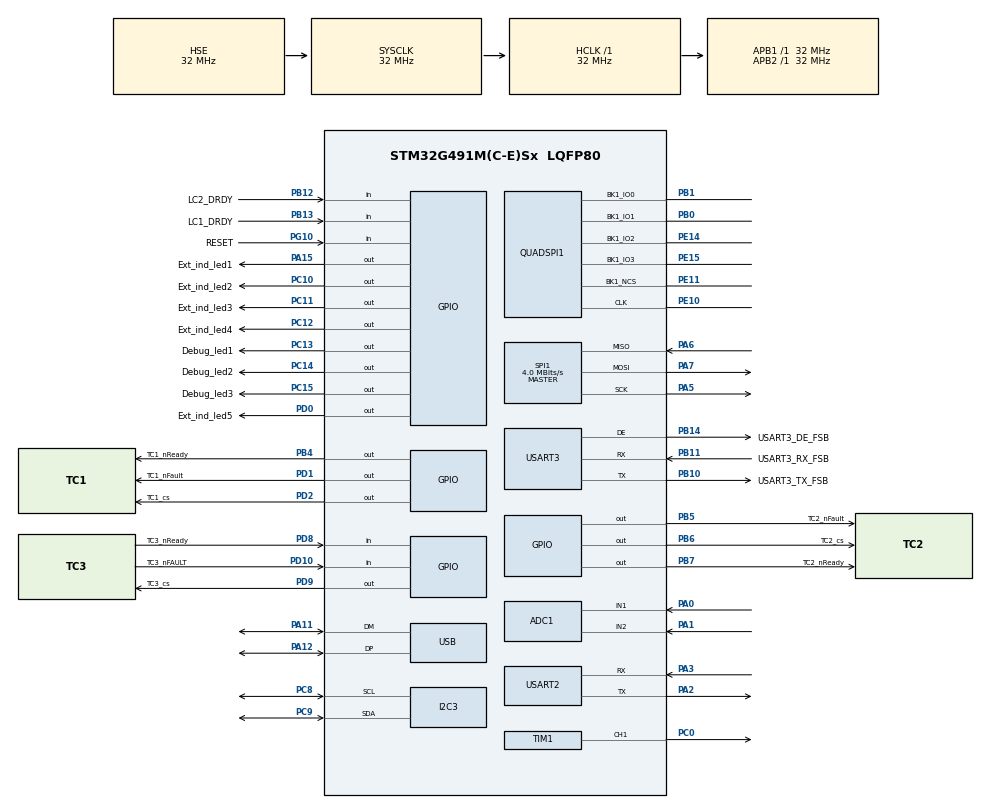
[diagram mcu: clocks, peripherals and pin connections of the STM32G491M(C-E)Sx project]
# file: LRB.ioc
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ADC1.Channel-0\#ChannelRegularConversion=ADC_CHANNEL_1
ADC1.NbrOfConversionFlag=1
ADC1.OffsetNumber-0\#ChannelRegularConversion=ADC_OFFSET_NONE
ADC1.Rank-0\#ChannelRegularConversion=1
ADC1.SamplingTime-0\#ChannelRegularConversion=ADC_SAMPLETIME_2CYCLES_5
ADC1.SingleDiff-0\#ChannelRegularConversion=ADC_DIFFERENTIAL_ENDED
ADC1.master=1
FREERTOS.Tasks01=defaultTask,0,192,StartDefaultTask,Default,NULL,Dynamic,NULL,NULL
FREERTOS.configMINIMAL_STACK_SIZE=192
FREERTOS.configTOTAL_HEAP_SIZE=65536
FREERTOS.configUSE_NEWLIB_REENTRANT=1
FREERTOS.configUSE_TIMERS=1
I2C3.Timing=0x00B07CB4
Mcu.Family=STM32G4
Mcu.Name=STM32G491M(C-E)Sx
Mcu.Package=LQFP80
NVIC.PriorityGroup=NVIC_PRIORITYGROUP_4
NVIC.TIM2_IRQn=true\:15\:0\:false\:false\:true\:false\:false\:true\:true
NVIC.TimeBase=TIM2_IRQn
NVIC.TimeBaseIP=TIM2
NVIC.USART2_IRQn=true\:5\:0\:false\:false\:true\:true\:true\:true\:true
PA0.Mode=IN1-Differential
PA0.Signal=ADC1_IN1
PA1.Mode=IN1-Differential
PA1.Signal=ADC1_IN2
PA11.Mode=Device
PA11.Signal=USB_DM
PA12.Mode=Device
PA12.Signal=USB_DP
PA13.Mode=Trace_Asynchronous_SW
PA13.Signal=SYS_JTMS-SWDIO
PA14.Mode=Trace_Asynchronous_SW
PA14.Signal=SYS_JTCK-SWCLK
PA15.GPIO_Label=Ext_ind_led1
PA15.Signal=GPIO_Output
PA2.Mode=Asynchronous
PA2.Signal=USART2_TX
PA3.Mode=Asynchronous
PA3.Signal=USART2_RX
PA5.GPIO_Speed=GPIO_SPEED_FREQ_VERY_HIGH
PA5.Mode=Full_Duplex_Master
PA5.Signal=SPI1_SCK
PA6.GPIO_Speed=GPIO_SPEED_FREQ_VERY_HIGH
PA6.Mode=Full_Duplex_Master
PA6.Signal=SPI1_MISO
PA7.GPIO_Speed=GPIO_SPEED_FREQ_VERY_HIGH
PA7.Mode=Full_Duplex_Master
PA7.Signal=SPI1_MOSI
PB0.Mode=Single Bank 1
PB0.Signal=QUADSPI1_BK1_IO1
PB1.Mode=Single Bank 1
PB1.Signal=QUADSPI1_BK1_IO0
PB10.GPIO_Label=USART3_TX_FSB
PB10.Mode=Asynchronous
PB10.Signal=USART3_TX
PB11.GPIO_Label=USART3_RX_FSB
PB11.Mode=Asynchronous
PB11.Signal=USART3_RX
PB12.GPIO_Label=LC2_DRDY
PB12.Signal=GPIO_Input
PB13.GPIO_Label=LC1_DRDY
PB13.Signal=GPIO_Input
PB14.GPIO_Label=USART3_DE_FSB
PB14.Mode=Hardware Flow Control (RS485)
PB14.Signal=USART3_DE
PB3.Mode=Trace_Asynchronous_SW
PB3.Signal=SYS_JTDO-SWO
PB4.GPIO_Label=TC1_nReady
PB4.Signal=GPIO_Output
PB5.GPIO_Label=TC2_nFault
PB5.Signal=GPIO_Output
PB6.GPIO_Label=TC2_cs
PB6.Signal=GPIO_Output
PB7.GPIO_Label=TC2_nReady
PB7.Signal=GPIO_Output
PC0.Signal=S_TIM1_CH1
PC10.GPIO_Label=Ext_ind_led2
PC10.Signal=GPIO_Output
PC11.GPIO_Label=Ext_ind_led3
PC11.Signal=GPIO_Output
PC12.GPIO_Label=Ext_ind_led4
PC12.Signal=GPIO_Output
PC13.GPIO_Label=Debug_led1
PC13.Signal=GPIO_Output
PC14-OSC32_IN.GPIO_Label=Debug_led2
PC14-OSC32_IN.Signal=GPIO_Output
PC15-OSC32_OUT.GPIO_Label=Debug_led3
PC15-OSC32_OUT.Signal=GPIO_Output
PC8.GPIO_Pu=GPIO_PULLUP
PC8.GPIO_Speed=GPIO_SPEED_FREQ_VERY_HIGH
PC8.Mode=I2C
PC8.Signal=I2C3_SCL
PC9.GPIO_Pu=GPIO_PULLUP
PC9.GPIO_Speed=GPIO_SPEED_FREQ_VERY_HIGH
PC9.Mode=I2C
PC9.Signal=I2C3_SDA
PD0.GPIO_Label=Ext_ind_led5
PD0.Signal=GPIO_Output
PD1.GPIO_Label=TC1_nFault
PD1.Signal=GPIO_Output
PD10.GPIO_Label=TC3_nFAULT
PD10.Signal=GPIO_Input
PD2.GPIO_Label=TC1_cs
PD2.Signal=GPIO_Output
PD8.GPIO_Label=TC3_nReady
PD8.Signal=GPIO_Input
PD9.GPIO_Label=TC3_cs
PD9.Signal=GPIO_Output
PE10.Mode=Single Bank 1
PE10.Signal=QUADSPI1_CLK
PE11.Mode=Single Bank 1
PE11.Signal=QUADSPI1_BK1_NCS
PE14.Mode=Single Bank 1
PE14.Signal=QUADSPI1_BK1_IO2
PE15.Mode=Single Bank 1
PE15.Signal=QUADSPI1_BK1_IO3
PF0-OSC_IN.Mode=HSE-External-Oscillator
PF0-OSC_IN.Signal=RCC_OSC_IN
PF1-OSC_OUT.Mode=HSE-External-Oscillator
PF1-OSC_OUT.Signal=RCC_OSC_OUT
PG10-NRST.GPIO_Label=RESET
PG10-NRST.Signal=GPIO_Input
ProjectManager.HeapSize=0x200
ProjectManager.StackSize=0x400
ProjectManager.TargetToolchain=STM32CubeIDE
RCC.ADC12Freq_Value=32000000
RCC.ADC345Freq_Value=32000000
RCC.AHBFreq_Value=32000000
RCC.APB1Freq_Value=32000000
RCC.APB1TimFreq_Value=32000000
RCC.APB2Freq_Value=32000000
RCC.APB2TimFreq_Value=32000000
RCC.CortexFreq_Value=32000000
RCC.EXTERNAL_CLOCK_VALUE=12288000
RCC.HCLKFreq_Value=32000000
RCC.HSE_VALUE=32000000
RCC.HSI48_VALUE=48000000
RCC.HSI_VALUE=16000000
RCC.LSE_VALUE=32768
RCC.PLLSourceVirtual=RCC_PLLSOURCE_HSE
RCC.SYSCLKFreq_VALUE=32000000
RCC.SYSCLKSource=RCC_SYSCLKSOURCE_HSE
RCC.VCOOutputFreq_Value=256000000
SH.S_TIM1_CH1.0=TIM1_CH1,PWM Generation1 CH1
SPI1.BaudRatePrescaler=SPI_BAUDRATEPRESCALER_8
SPI1.CLKPhase=SPI_PHASE_2EDGE
SPI1.CLKPolarity=SPI_POLARITY_HIGH
SPI1.CalculateBaudRate=4.0 MBits/s
SPI1.DataSize=SPI_DATASIZE_8BIT
SPI1.Direction=SPI_DIRECTION_2LINES
SPI1.Mode=SPI_MODE_MASTER
SPI1.VirtualType=VM_MASTER
TIM1.Channel-PWM\ Generation1\ CH1=TIM_CHANNEL_1
TIM3.Prescaler=10000
USART2.VirtualMode-Asynchronous=VM_ASYNC
USART3.VirtualMode-Asynchronous=VM_ASYNC
USART3.VirtualMode-Hardware\ Flow\ Control\ (RS485)=VM_ASYNC
VP_CRC_VS_CRC.Mode=CRC_Activate
VP_FREERTOS_VS_CMSIS_V1.Mode=CMSIS_V1
VP_SYS_VS_DBSignals.Mode=DisableDeadBatterySignals
VP_SYS_VS_tim2.Mode=TIM2
VP_TIM3_VS_ClockSourceINT.Mode=Internal
board=custom

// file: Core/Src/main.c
/* USER CODE BEGIN Header */
/**
  ******************************************************************************
  * @file           : main.c
  * @brief          : Main program body
  ******************************************************************************
  * @attention
  *
  * Copyright (c) 2026 STMicroelectronics.
  * All rights reserved.
  *
  * This software is licensed under terms that can be found in the LICENSE file
  * in the root directory of this software component.
  * If no LICENSE file comes with this software, it is provided AS-IS.
  *
  ******************************************************************************
  */
/* USER CODE END Header */
#include "main.h"
#include "cmsis_os.h"

/* USER CODE BEGIN Includes */
//#define USE_FULL_LL_DRIVER
//TODO: see if it works??
#include "RunInterface.hpp"

/* USER CODE END Includes */

ADC_HandleTypeDef hadc1;

CRC_HandleTypeDef hcrc;

I2C_HandleTypeDef hi2c3;

QSPI_HandleTypeDef hqspi1;

SPI_HandleTypeDef hspi1;

TIM_HandleTypeDef htim1;
TIM_HandleTypeDef htim3;

UART_HandleTypeDef huart3;

PCD_HandleTypeDef hpcd_USB_FS;

osThreadId defaultTaskHandle;
/* USER CODE BEGIN PV */
UART_HandleTypeDef huart2;
/* USER CODE END PV */

void SystemClock_Config(void);
static void MX_GPIO_Init(void);
static void MX_QUADSPI1_Init(void);
static void MX_SPI1_Init(void);
static void MX_USB_PCD_Init(void);
static void MX_USART2_UART_Init(void);
static void MX_USART3_UART_Init(void);
static void MX_ADC1_Init(void);
static void MX_I2C3_Init(void);
static void MX_TIM1_Init(void);
static void MX_CRC_Init(void);
static void MX_TIM3_Init(void);
void StartDefaultTask(void const * argument);

int main(void)
{

  /* MCU Configuration--------------------------------------------------------*/

  /* Reset of all peripherals, Initializes the Flash interface and the Systick. */
  HAL_Init();

  /* Configure the system clock */
  SystemClock_Config();

  /* Initialize all configured peripherals */
  MX_GPIO_Init();
  MX_QUADSPI1_Init();
  MX_SPI1_Init();
  MX_USB_PCD_Init();
  MX_USART2_UART_Init();
  MX_USART3_UART_Init();
  MX_ADC1_Init();
  MX_I2C3_Init();
  MX_TIM1_Init();
  MX_CRC_Init();
  MX_TIM3_Init();
  /* USER CODE BEGIN 2 */
#if (configGENERATE_RUN_TIME_STATS == 1)
MX_TIM3_Init();		// Replace TIM2 with your selected timer
#endif
  run_interface();
  /* USER CODE END 2 */

  /* Create the thread(s) */
  /* definition and creation of defaultTask */
  osThreadDef(defaultTask, StartDefaultTask, osPriorityNormal, 0, 192);
  defaultTaskHandle = osThreadCreate(osThread(defaultTask), NULL);

  /* Start scheduler */
  osKernelStart();

  /* We should never get here as control is now taken by the scheduler */

  /* Infinite loop */
  while (1)
  {

  }
}

void SystemClock_Config(void)
{
  RCC_OscInitTypeDef RCC_OscInitStruct = {0};
  RCC_ClkInitTypeDef RCC_ClkInitStruct = {0};

  /** Configure the main internal regulator output voltage
  */
  HAL_PWREx_ControlVoltageScaling(PWR_REGULATOR_VOLTAGE_SCALE1);

  /** Initializes the RCC Oscillators according to the specified parameters
  * in the RCC_OscInitTypeDef structure.
  */
  RCC_OscInitStruct.OscillatorType = RCC_OSCILLATORTYPE_HSI48|RCC_OSCILLATORTYPE_HSE;
  RCC_OscInitStruct.HSEState = RCC_HSE_ON;
  RCC_OscInitStruct.HSI48State = RCC_HSI48_ON;
  RCC_OscInitStruct.PLL.PLLState = RCC_PLL_NONE;
  if (HAL_RCC_OscConfig(&RCC_OscInitStruct) != HAL_OK)
  {
    Error_Handler();
  }

  /** Initializes the CPU, AHB and APB buses clocks
  */
  RCC_ClkInitStruct.ClockType = RCC_CLOCKTYPE_HCLK|RCC_CLOCKTYPE_SYSCLK
                              |RCC_CLOCKTYPE_PCLK1|RCC_CLOCKTYPE_PCLK2;
  RCC_ClkInitStruct.SYSCLKSource = RCC_SYSCLKSOURCE_HSE;
  RCC_ClkInitStruct.AHBCLKDivider = RCC_SYSCLK_DIV1;
  RCC_ClkInitStruct.APB1CLKDivider = RCC_HCLK_DIV1;
  RCC_ClkInitStruct.APB2CLKDivider = RCC_HCLK_DIV1;

  if (HAL_RCC_ClockConfig(&RCC_ClkInitStruct, FLASH_LATENCY_1) != HAL_OK)
  {
    Error_Handler();
  }
}

static void MX_ADC1_Init(void)
{

  ADC_MultiModeTypeDef multimode = {0};
  ADC_ChannelConfTypeDef sConfig = {0};

  /** Common config
  */
  hadc1.Instance = ADC1;
  hadc1.Init.ClockPrescaler = ADC_CLOCK_SYNC_PCLK_DIV2;
  hadc1.Init.Resolution = ADC_RESOLUTION_12B;
  hadc1.Init.DataAlign = ADC_DATAALIGN_RIGHT;
  hadc1.Init.GainCompensation = 0;
  hadc1.Init.ScanConvMode = ADC_SCAN_DISABLE;
  hadc1.Init.EOCSelection = ADC_EOC_SINGLE_CONV;
  hadc1.Init.LowPowerAutoWait = DISABLE;
  hadc1.Init.ContinuousConvMode = DISABLE;
  hadc1.Init.NbrOfConversion = 1;
  hadc1.Init.DiscontinuousConvMode = DISABLE;
  hadc1.Init.ExternalTrigConv = ADC_SOFTWARE_START;
  hadc1.Init.ExternalTrigConvEdge = ADC_EXTERNALTRIGCONVEDGE_NONE;
  hadc1.Init.DMAContinuousRequests = DISABLE;
  hadc1.Init.Overrun = ADC_OVR_DATA_PRESERVED;
  hadc1.Init.OversamplingMode = DISABLE;
  if (HAL_ADC_Init(&hadc1) != HAL_OK)
  {
    Error_Handler();
  }

  /** Configure the ADC multi-mode
  */
  multimode.Mode = ADC_MODE_INDEPENDENT;
  if (HAL_ADCEx_MultiModeConfigChannel(&hadc1, &multimode) != HAL_OK)
  {
    Error_Handler();
  }

  /** Configure Regular Channel
  */
  sConfig.Channel = ADC_CHANNEL_1;
  sConfig.Rank = ADC_REGULAR_RANK_1;
  sConfig.SamplingTime = ADC_SAMPLETIME_2CYCLES_5;
  sConfig.SingleDiff = ADC_DIFFERENTIAL_ENDED;
  sConfig.OffsetNumber = ADC_OFFSET_NONE;
  sConfig.Offset = 0;
  if (HAL_ADC_ConfigChannel(&hadc1, &sConfig) != HAL_OK)
  {
    Error_Handler();
  }

}

static void MX_CRC_Init(void)
{

  hcrc.Instance = CRC;
  hcrc.Init.DefaultPolynomialUse = DEFAULT_POLYNOMIAL_ENABLE;
  hcrc.Init.DefaultInitValueUse = DEFAULT_INIT_VALUE_ENABLE;
  hcrc.Init.InputDataInversionMode = CRC_INPUTDATA_INVERSION_NONE;
  hcrc.Init.OutputDataInversionMode = CRC_OUTPUTDATA_INVERSION_DISABLE;
  hcrc.InputDataFormat = CRC_INPUTDATA_FORMAT_BYTES;
  if (HAL_CRC_Init(&hcrc) != HAL_OK)
  {
    Error_Handler();
  }

}

static void MX_I2C3_Init(void)
{

  hi2c3.Instance = I2C3;
  hi2c3.Init.Timing = 0x00B07CB4;
  hi2c3.Init.OwnAddress1 = 0;
  hi2c3.Init.AddressingMode = I2C_ADDRESSINGMODE_7BIT;
  hi2c3.Init.DualAddressMode = I2C_DUALADDRESS_DISABLE;
  hi2c3.Init.OwnAddress2 = 0;
  hi2c3.Init.OwnAddress2Masks = I2C_OA2_NOMASK;
  hi2c3.Init.GeneralCallMode = I2C_GENERALCALL_DISABLE;
  hi2c3.Init.NoStretchMode = I2C_NOSTRETCH_DISABLE;
  if (HAL_I2C_Init(&hi2c3) != HAL_OK)
  {
    Error_Handler();
  }

  /** Configure Analogue filter
  */
  if (HAL_I2CEx_ConfigAnalogFilter(&hi2c3, I2C_ANALOGFILTER_ENABLE) != HAL_OK)
  {
    Error_Handler();
  }

  /** Configure Digital filter
  */
  if (HAL_I2CEx_ConfigDigitalFilter(&hi2c3, 0) != HAL_OK)
  {
    Error_Handler();
  }

}

static void MX_QUADSPI1_Init(void)
{

  /* QUADSPI1 parameter configuration*/
  hqspi1.Instance = QUADSPI;
  hqspi1.Init.ClockPrescaler = 255;
  hqspi1.Init.FifoThreshold = 1;
  hqspi1.Init.SampleShifting = QSPI_SAMPLE_SHIFTING_NONE;
  hqspi1.Init.FlashSize = 1;
  hqspi1.Init.ChipSelectHighTime = QSPI_CS_HIGH_TIME_1_CYCLE;
  hqspi1.Init.ClockMode = QSPI_CLOCK_MODE_0;
  hqspi1.Init.FlashID = QSPI_FLASH_ID_1;
  hqspi1.Init.DualFlash = QSPI_DUALFLASH_DISABLE;
  if (HAL_QSPI_Init(&hqspi1) != HAL_OK)
  {
    Error_Handler();
  }

}

static void MX_SPI1_Init(void)
{

  /* SPI1 parameter configuration*/
  hspi1.Instance = SPI1;
  hspi1.Init.Mode = SPI_MODE_MASTER;
  hspi1.Init.Direction = SPI_DIRECTION_2LINES;
  hspi1.Init.DataSize = SPI_DATASIZE_8BIT;
  hspi1.Init.CLKPolarity = SPI_POLARITY_HIGH;
  hspi1.Init.CLKPhase = SPI_PHASE_2EDGE;
  hspi1.Init.NSS = SPI_NSS_SOFT;
  hspi1.Init.BaudRatePrescaler = SPI_BAUDRATEPRESCALER_8;
  hspi1.Init.FirstBit = SPI_FIRSTBIT_MSB;
  hspi1.Init.TIMode = SPI_TIMODE_DISABLE;
  hspi1.Init.CRCCalculation = SPI_CRCCALCULATION_DISABLE;
  hspi1.Init.CRCPolynomial = 7;
  hspi1.Init.CRCLength = SPI_CRC_LENGTH_DATASIZE;
  hspi1.Init.NSSPMode = SPI_NSS_PULSE_DISABLE;
  if (HAL_SPI_Init(&hspi1) != HAL_OK)
  {
    Error_Handler();
  }

}

static void MX_TIM1_Init(void)
{

  TIM_MasterConfigTypeDef sMasterConfig = {0};
  TIM_OC_InitTypeDef sConfigOC = {0};
  TIM_BreakDeadTimeConfigTypeDef sBreakDeadTimeConfig = {0};

  htim1.Instance = TIM1;
  htim1.Init.Prescaler = 0;
  htim1.Init.CounterMode = TIM_COUNTERMODE_UP;
  htim1.Init.Period = 65535;
  htim1.Init.ClockDivision = TIM_CLOCKDIVISION_DIV1;
  htim1.Init.RepetitionCounter = 0;
  htim1.Init.AutoReloadPreload = TIM_AUTORELOAD_PRELOAD_DISABLE;
  if (HAL_TIM_PWM_Init(&htim1) != HAL_OK)
  {
    Error_Handler();
  }
  sMasterConfig.MasterOutputTrigger = TIM_TRGO_RESET;
  sMasterConfig.MasterOutputTrigger2 = TIM_TRGO2_RESET;
  sMasterConfig.MasterSlaveMode = TIM_MASTERSLAVEMODE_DISABLE;
  if (HAL_TIMEx_MasterConfigSynchronization(&htim1, &sMasterConfig) != HAL_OK)
  {
    Error_Handler();
  }
  sConfigOC.OCMode = TIM_OCMODE_PWM1;
  sConfigOC.Pulse = 0;
  sConfigOC.OCPolarity = TIM_OCPOLARITY_HIGH;
  sConfigOC.OCNPolarity = TIM_OCNPOLARITY_HIGH;
  sConfigOC.OCFastMode = TIM_OCFAST_DISABLE;
  sConfigOC.OCIdleState = TIM_OCIDLESTATE_RESET;
  sConfigOC.OCNIdleState = TIM_OCNIDLESTATE_RESET;
  if (HAL_TIM_PWM_ConfigChannel(&htim1, &sConfigOC, TIM_CHANNEL_1) != HAL_OK)
  {
    Error_Handler();
  }
  sBreakDeadTimeConfig.OffStateRunMode = TIM_OSSR_DISABLE;
  sBreakDeadTimeConfig.OffStateIDLEMode = TIM_OSSI_DISABLE;
  sBreakDeadTimeConfig.LockLevel = TIM_LOCKLEVEL_OFF;
  sBreakDeadTimeConfig.DeadTime = 0;
  sBreakDeadTimeConfig.BreakState = TIM_BREAK_DISABLE;
  sBreakDeadTimeConfig.BreakPolarity = TIM_BREAKPOLARITY_HIGH;
  sBreakDeadTimeConfig.BreakFilter = 0;
  sBreakDeadTimeConfig.BreakAFMode = TIM_BREAK_AFMODE_INPUT;
  sBreakDeadTimeConfig.Break2State = TIM_BREAK2_DISABLE;
  sBreakDeadTimeConfig.Break2Polarity = TIM_BREAK2POLARITY_HIGH;
  sBreakDeadTimeConfig.Break2Filter = 0;
  sBreakDeadTimeConfig.Break2AFMode = TIM_BREAK_AFMODE_INPUT;
  sBreakDeadTimeConfig.AutomaticOutput = TIM_AUTOMATICOUTPUT_DISABLE;
  if (HAL_TIMEx_ConfigBreakDeadTime(&htim1, &sBreakDeadTimeConfig) != HAL_OK)
  {
    Error_Handler();
  }
  HAL_TIM_MspPostInit(&htim1);

}

static void MX_TIM3_Init(void)
{

  TIM_ClockConfigTypeDef sClockSourceConfig = {0};
  TIM_MasterConfigTypeDef sMasterConfig = {0};

  htim3.Instance = TIM3;
  htim3.Init.Prescaler = 10000;
  htim3.Init.CounterMode = TIM_COUNTERMODE_UP;
  htim3.Init.Period = 65535;
  htim3.Init.ClockDivision = TIM_CLOCKDIVISION_DIV1;
  htim3.Init.AutoReloadPreload = TIM_AUTORELOAD_PRELOAD_DISABLE;
  if (HAL_TIM_Base_Init(&htim3) != HAL_OK)
  {
    Error_Handler();
  }
  sClockSourceConfig.ClockSource = TIM_CLOCKSOURCE_INTERNAL;
  if (HAL_TIM_ConfigClockSource(&htim3, &sClockSourceConfig) != HAL_OK)
  {
    Error_Handler();
  }
  sMasterConfig.MasterOutputTrigger = TIM_TRGO_RESET;
  sMasterConfig.MasterSlaveMode = TIM_MASTERSLAVEMODE_DISABLE;
  if (HAL_TIMEx_MasterConfigSynchronization(&htim3, &sMasterConfig) != HAL_OK)
  {
    Error_Handler();
  }

}

static void MX_USART2_UART_Init(void)
{

  LL_USART_InitTypeDef USART_InitStruct = {0};

  LL_GPIO_InitTypeDef GPIO_InitStruct = {0};
  RCC_PeriphCLKInitTypeDef PeriphClkInit = {0};

  /** Initializes the peripherals clocks
  */
  PeriphClkInit.PeriphClockSelection = RCC_PERIPHCLK_USART2;
  PeriphClkInit.Usart2ClockSelection = RCC_USART2CLKSOURCE_PCLK1;
  if (HAL_RCCEx_PeriphCLKConfig(&PeriphClkInit) != HAL_OK)
  {
    Error_Handler();
  }

  /* Peripheral clock enable */
  LL_APB1_GRP1_EnableClock(LL_APB1_GRP1_PERIPH_USART2);

  LL_AHB2_GRP1_EnableClock(LL_AHB2_GRP1_PERIPH_GPIOA);
  /**USART2 GPIO Configuration
  PA2   ------> USART2_TX
  PA3   ------> USART2_RX
  */
  GPIO_InitStruct.Pin = LL_GPIO_PIN_2;
  GPIO_InitStruct.Mode = LL_GPIO_MODE_ALTERNATE;
  GPIO_InitStruct.Speed = LL_GPIO_SPEED_FREQ_LOW;
  GPIO_InitStruct.OutputType = LL_GPIO_OUTPUT_PUSHPULL;
  GPIO_InitStruct.Pull = LL_GPIO_PULL_NO;
  GPIO_InitStruct.Alternate = LL_GPIO_AF_7;
  LL_GPIO_Init(GPIOA, &GPIO_InitStruct);

  GPIO_InitStruct.Pin = LL_GPIO_PIN_3;
  GPIO_InitStruct.Mode = LL_GPIO_MODE_ALTERNATE;
  GPIO_InitStruct.Speed = LL_GPIO_SPEED_FREQ_LOW;
  GPIO_InitStruct.OutputType = LL_GPIO_OUTPUT_PUSHPULL;
  GPIO_InitStruct.Pull = LL_GPIO_PULL_NO;
  GPIO_InitStruct.Alternate = LL_GPIO_AF_7;
  LL_GPIO_Init(GPIOA, &GPIO_InitStruct);

  /* USART2 interrupt Init */
  NVIC_SetPriority(USART2_IRQn, NVIC_EncodePriority(NVIC_GetPriorityGrouping(),5, 0));
  NVIC_EnableIRQ(USART2_IRQn);

  USART_InitStruct.PrescalerValue = LL_USART_PRESCALER_DIV1;
  USART_InitStruct.BaudRate = 115200;
  USART_InitStruct.DataWidth = LL_USART_DATAWIDTH_8B;
  USART_InitStruct.StopBits = LL_USART_STOPBITS_1;
  USART_InitStruct.Parity = LL_USART_PARITY_NONE;
  USART_InitStruct.TransferDirection = LL_USART_DIRECTION_TX_RX;
  USART_InitStruct.HardwareFlowControl = LL_USART_HWCONTROL_NONE;
  USART_InitStruct.OverSampling = LL_USART_OVERSAMPLING_16;
  LL_USART_Init(USART2, &USART_InitStruct);
  LL_USART_SetTXFIFOThreshold(USART2, LL_USART_FIFOTHRESHOLD_1_8);
  LL_USART_SetRXFIFOThreshold(USART2, LL_USART_FIFOTHRESHOLD_1_8);
  LL_USART_DisableFIFO(USART2);
  LL_USART_ConfigAsyncMode(USART2);

  LL_USART_Enable(USART2);

  /* Polling USART2 initialisation */
  while((!(LL_USART_IsActiveFlag_TEACK(USART2))) || (!(LL_USART_IsActiveFlag_REACK(USART2))))
  {
  }
  /* USER CODE BEGIN USART2_Init 2 */

  // Keep a valid HAL handle for mixed LL/HAL ISR routing on USART2.
  huart2.Instance = USART2;
  /* USER CODE END USART2_Init 2 */

}

static void MX_USART3_UART_Init(void)
{

  huart3.Instance = USART3;
  huart3.Init.BaudRate = 115200;
  huart3.Init.WordLength = UART_WORDLENGTH_8B;
  huart3.Init.StopBits = UART_STOPBITS_1;
  huart3.Init.Parity = UART_PARITY_NONE;
  huart3.Init.Mode = UART_MODE_TX_RX;
  huart3.Init.HwFlowCtl = UART_HWCONTROL_NONE;
  huart3.Init.OverSampling = UART_OVERSAMPLING_16;
  huart3.Init.OneBitSampling = UART_ONE_BIT_SAMPLE_DISABLE;
  huart3.Init.ClockPrescaler = UART_PRESCALER_DIV1;
  huart3.AdvancedInit.AdvFeatureInit = UART_ADVFEATURE_NO_INIT;
  if (HAL_RS485Ex_Init(&huart3, UART_DE_POLARITY_HIGH, 0, 0) != HAL_OK)
  {
    Error_Handler();
  }
  if (HAL_UARTEx_SetTxFifoThreshold(&huart3, UART_TXFIFO_THRESHOLD_1_8) != HAL_OK)
  {
    Error_Handler();
  }
  if (HAL_UARTEx_SetRxFifoThreshold(&huart3, UART_RXFIFO_THRESHOLD_1_8) != HAL_OK)
  {
    Error_Handler();
  }
  if (HAL_UARTEx_DisableFifoMode(&huart3) != HAL_OK)
  {
    Error_Handler();
  }

}

static void MX_USB_PCD_Init(void)
{

  hpcd_USB_FS.Instance = USB;
  hpcd_USB_FS.Init.dev_endpoints = 8;
  hpcd_USB_FS.Init.speed = PCD_SPEED_FULL;
  hpcd_USB_FS.Init.phy_itface = PCD_PHY_EMBEDDED;
  hpcd_USB_FS.Init.Sof_enable = DISABLE;
  hpcd_USB_FS.Init.low_power_enable = DISABLE;
  hpcd_USB_FS.Init.lpm_enable = DISABLE;
  hpcd_USB_FS.Init.battery_charging_enable = DISABLE;
  if (HAL_PCD_Init(&hpcd_USB_FS) != HAL_OK)
  {
    Error_Handler();
  }

}

static void MX_GPIO_Init(void)
{
  LL_GPIO_InitTypeDef GPIO_InitStruct = {0};

  /* GPIO Ports Clock Enable */
  LL_AHB2_GRP1_EnableClock(LL_AHB2_GRP1_PERIPH_GPIOC);
  LL_AHB2_GRP1_EnableClock(LL_AHB2_GRP1_PERIPH_GPIOF);
  LL_AHB2_GRP1_EnableClock(LL_AHB2_GRP1_PERIPH_GPIOG);
  LL_AHB2_GRP1_EnableClock(LL_AHB2_GRP1_PERIPH_GPIOA);
  LL_AHB2_GRP1_EnableClock(LL_AHB2_GRP1_PERIPH_GPIOB);
  LL_AHB2_GRP1_EnableClock(LL_AHB2_GRP1_PERIPH_GPIOE);
  LL_AHB2_GRP1_EnableClock(LL_AHB2_GRP1_PERIPH_GPIOD);

  /**/
  LL_GPIO_ResetOutputPin(Debug_led1_GPIO_Port, Debug_led1_Pin);

  /**/
  LL_GPIO_ResetOutputPin(Debug_led2_GPIO_Port, Debug_led2_Pin);

  /**/
  LL_GPIO_ResetOutputPin(Debug_led3_GPIO_Port, Debug_led3_Pin);

  /**/
  LL_GPIO_ResetOutputPin(TC3_cs_GPIO_Port, TC3_cs_Pin);

  /**/
  LL_GPIO_ResetOutputPin(Ext_ind_led1_GPIO_Port, Ext_ind_led1_Pin);

  /**/
  LL_GPIO_ResetOutputPin(Ext_ind_led2_GPIO_Port, Ext_ind_led2_Pin);

  /**/
  LL_GPIO_ResetOutputPin(Ext_ind_led3_GPIO_Port, Ext_ind_led3_Pin);

  /**/
  LL_GPIO_ResetOutputPin(Ext_ind_led4_GPIO_Port, Ext_ind_led4_Pin);

  /**/
  LL_GPIO_ResetOutputPin(Ext_ind_led5_GPIO_Port, Ext_ind_led5_Pin);

  /**/
  LL_GPIO_ResetOutputPin(TC1_nFault_GPIO_Port, TC1_nFault_Pin);

  /**/
  LL_GPIO_ResetOutputPin(TC1_cs_GPIO_Port, TC1_cs_Pin);

  /**/
  LL_GPIO_ResetOutputPin(TC1_nReady_GPIO_Port, TC1_nReady_Pin);

  /**/
  LL_GPIO_ResetOutputPin(TC2_nFault_GPIO_Port, TC2_nFault_Pin);

  /**/
  LL_GPIO_ResetOutputPin(TC2_cs_GPIO_Port, TC2_cs_Pin);

  /**/
  LL_GPIO_ResetOutputPin(TC2_nReady_GPIO_Port, TC2_nReady_Pin);

  /**/
  GPIO_InitStruct.Pin = Debug_led1_Pin;
  GPIO_InitStruct.Mode = LL_GPIO_MODE_OUTPUT;
  GPIO_InitStruct.Speed = LL_GPIO_SPEED_FREQ_LOW;
  GPIO_InitStruct.OutputType = LL_GPIO_OUTPUT_PUSHPULL;
  GPIO_InitStruct.Pull = LL_GPIO_PULL_NO;
  LL_GPIO_Init(Debug_led1_GPIO_Port, &GPIO_InitStruct);

  /**/
  GPIO_InitStruct.Pin = Debug_led2_Pin;
  GPIO_InitStruct.Mode = LL_GPIO_MODE_OUTPUT;
  GPIO_InitStruct.Speed = LL_GPIO_SPEED_FREQ_LOW;
  GPIO_InitStruct.OutputType = LL_GPIO_OUTPUT_PUSHPULL;
  GPIO_InitStruct.Pull = LL_GPIO_PULL_NO;
  LL_GPIO_Init(Debug_led2_GPIO_Port, &GPIO_InitStruct);

  /**/
  GPIO_InitStruct.Pin = Debug_led3_Pin;
  GPIO_InitStruct.Mode = LL_GPIO_MODE_OUTPUT;
  GPIO_InitStruct.Speed = LL_GPIO_SPEED_FREQ_LOW;
  GPIO_InitStruct.OutputType = LL_GPIO_OUTPUT_PUSHPULL;
  GPIO_InitStruct.Pull = LL_GPIO_PULL_NO;
  LL_GPIO_Init(Debug_led3_GPIO_Port, &GPIO_InitStruct);

  /**/
  GPIO_InitStruct.Pin = RESET_Pin;
  GPIO_InitStruct.Mode = LL_GPIO_MODE_INPUT;
  GPIO_InitStruct.Pull = LL_GPIO_PULL_NO;
  LL_GPIO_Init(RESET_GPIO_Port, &GPIO_InitStruct);

  /**/
  GPIO_InitStruct.Pin = LC2_DRDY_Pin;
  GPIO_InitStruct.Mode = LL_GPIO_MODE_INPUT;
  GPIO_InitStruct.Pull = LL_GPIO_PULL_NO;
  LL_GPIO_Init(LC2_DRDY_GPIO_Port, &GPIO_InitStruct);

  /**/
  GPIO_InitStruct.Pin = LC1_DRDY_Pin;
  GPIO_InitStruct.Mode = LL_GPIO_MODE_INPUT;
  GPIO_InitStruct.Pull = LL_GPIO_PULL_NO;
  LL_GPIO_Init(LC1_DRDY_GPIO_Port, &GPIO_InitStruct);

  /**/
  GPIO_InitStruct.Pin = TC3_nReady_Pin;
  GPIO_InitStruct.Mode = LL_GPIO_MODE_INPUT;
  GPIO_InitStruct.Pull = LL_GPIO_PULL_NO;
  LL_GPIO_Init(TC3_nReady_GPIO_Port, &GPIO_InitStruct);

  /**/
  GPIO_InitStruct.Pin = TC3_cs_Pin;
  GPIO_InitStruct.Mode = LL_GPIO_MODE_OUTPUT;
  GPIO_InitStruct.Speed = LL_GPIO_SPEED_FREQ_LOW;
  GPIO_InitStruct.OutputType = LL_GPIO_OUTPUT_PUSHPULL;
  GPIO_InitStruct.Pull = LL_GPIO_PULL_NO;
  LL_GPIO_Init(TC3_cs_GPIO_Port, &GPIO_InitStruct);

  /**/
  GPIO_InitStruct.Pin = TC3_nFAULT_Pin;
  GPIO_InitStruct.Mode = LL_GPIO_MODE_INPUT;
  GPIO_InitStruct.Pull = LL_GPIO_PULL_NO;
  LL_GPIO_Init(TC3_nFAULT_GPIO_Port, &GPIO_InitStruct);

  /**/
  GPIO_InitStruct.Pin = Ext_ind_led1_Pin;
  GPIO_InitStruct.Mode = LL_GPIO_MODE_OUTPUT;
  GPIO_InitStruct.Speed = LL_GPIO_SPEED_FREQ_LOW;
  GPIO_InitStruct.OutputType = LL_GPIO_OUTPUT_PUSHPULL;
  GPIO_InitStruct.Pull = LL_GPIO_PULL_NO;
  LL_GPIO_Init(Ext_ind_led1_GPIO_Port, &GPIO_InitStruct);

  /**/
  GPIO_InitStruct.Pin = Ext_ind_led2_Pin;
  GPIO_InitStruct.Mode = LL_GPIO_MODE_OUTPUT;
  GPIO_InitStruct.Speed = LL_GPIO_SPEED_FREQ_LOW;
  GPIO_InitStruct.OutputType = LL_GPIO_OUTPUT_PUSHPULL;
  GPIO_InitStruct.Pull = LL_GPIO_PULL_NO;
  LL_GPIO_Init(Ext_ind_led2_GPIO_Port, &GPIO_InitStruct);

  /**/
  GPIO_InitStruct.Pin = Ext_ind_led3_Pin;
  GPIO_InitStruct.Mode = LL_GPIO_MODE_OUTPUT;
  GPIO_InitStruct.Speed = LL_GPIO_SPEED_FREQ_LOW;
  GPIO_InitStruct.OutputType = LL_GPIO_OUTPUT_PUSHPULL;
  GPIO_InitStruct.Pull = LL_GPIO_PULL_NO;
  LL_GPIO_Init(Ext_ind_led3_GPIO_Port, &GPIO_InitStruct);

  /**/
  GPIO_InitStruct.Pin = Ext_ind_led4_Pin;
  GPIO_InitStruct.Mode = LL_GPIO_MODE_OUTPUT;
  GPIO_InitStruct.Speed = LL_GPIO_SPEED_FREQ_LOW;
  GPIO_InitStruct.OutputType = LL_GPIO_OUTPUT_PUSHPULL;
  GPIO_InitStruct.Pull = LL_GPIO_PULL_NO;
  LL_GPIO_Init(Ext_ind_led4_GPIO_Port, &GPIO_InitStruct);

  /**/
  GPIO_InitStruct.Pin = Ext_ind_led5_Pin;
  GPIO_InitStruct.Mode = LL_GPIO_MODE_OUTPUT;
  GPIO_InitStruct.Speed = LL_GPIO_SPEED_FREQ_LOW;
  GPIO_InitStruct.OutputType = LL_GPIO_OUTPUT_PUSHPULL;
  GPIO_InitStruct.Pull = LL_GPIO_PULL_NO;
  LL_GPIO_Init(Ext_ind_led5_GPIO_Port, &GPIO_InitStruct);

  /**/
  GPIO_InitStruct.Pin = TC1_nFault_Pin;
  GPIO_InitStruct.Mode = LL_GPIO_MODE_OUTPUT;
  GPIO_InitStruct.Speed = LL_GPIO_SPEED_FREQ_LOW;
  GPIO_InitStruct.OutputType = LL_GPIO_OUTPUT_PUSHPULL;
  GPIO_InitStruct.Pull = LL_GPIO_PULL_NO;
  LL_GPIO_Init(TC1_nFault_GPIO_Port, &GPIO_InitStruct);

  /**/
  GPIO_InitStruct.Pin = TC1_cs_Pin;
  GPIO_InitStruct.Mode = LL_GPIO_MODE_OUTPUT;
  GPIO_InitStruct.Speed = LL_GPIO_SPEED_FREQ_LOW;
  GPIO_InitStruct.OutputType = LL_GPIO_OUTPUT_PUSHPULL;
  GPIO_InitStruct.Pull = LL_GPIO_PULL_NO;
  LL_GPIO_Init(TC1_cs_GPIO_Port, &GPIO_InitStruct);

  /**/
  GPIO_InitStruct.Pin = TC1_nReady_Pin;
  GPIO_InitStruct.Mode = LL_GPIO_MODE_OUTPUT;
  GPIO_InitStruct.Speed = LL_GPIO_SPEED_FREQ_LOW;
  GPIO_InitStruct.OutputType = LL_GPIO_OUTPUT_PUSHPULL;
  GPIO_InitStruct.Pull = LL_GPIO_PULL_NO;
  LL_GPIO_Init(TC1_nReady_GPIO_Port, &GPIO_InitStruct);

  /**/
  GPIO_InitStruct.Pin = TC2_nFault_Pin;
  GPIO_InitStruct.Mode = LL_GPIO_MODE_OUTPUT;
  GPIO_InitStruct.Speed = LL_GPIO_SPEED_FREQ_LOW;
  GPIO_InitStruct.OutputType = LL_GPIO_OUTPUT_PUSHPULL;
  GPIO_InitStruct.Pull = LL_GPIO_PULL_NO;
  LL_GPIO_Init(TC2_nFault_GPIO_Port, &GPIO_InitStruct);

  /**/
  GPIO_InitStruct.Pin = TC2_cs_Pin;
  GPIO_InitStruct.Mode = LL_GPIO_MODE_OUTPUT;
  GPIO_InitStruct.Speed = LL_GPIO_SPEED_FREQ_LOW;
  GPIO_InitStruct.OutputType = LL_GPIO_OUTPUT_PUSHPULL;
  GPIO_InitStruct.Pull = LL_GPIO_PULL_NO;
  LL_GPIO_Init(TC2_cs_GPIO_Port, &GPIO_InitStruct);

  /**/
  GPIO_InitStruct.Pin = TC2_nReady_Pin;
  GPIO_InitStruct.Mode = LL_GPIO_MODE_OUTPUT;
  GPIO_InitStruct.Speed = LL_GPIO_SPEED_FREQ_LOW;
  GPIO_InitStruct.OutputType = LL_GPIO_OUTPUT_PUSHPULL;
  GPIO_InitStruct.Pull = LL_GPIO_PULL_NO;
  LL_GPIO_Init(TC2_nReady_GPIO_Port, &GPIO_InitStruct);

  /* USER CODE BEGIN MX_GPIO_Init_2 */
  LL_APB2_GRP1_EnableClock(LL_APB2_GRP1_PERIPH_SYSCFG);

  LL_SYSCFG_SetEXTISource(LL_SYSCFG_EXTI_PORTB, LL_SYSCFG_EXTI_LINE4);
  LL_SYSCFG_SetEXTISource(LL_SYSCFG_EXTI_PORTB, LL_SYSCFG_EXTI_LINE7);
  LL_SYSCFG_SetEXTISource(LL_SYSCFG_EXTI_PORTB, LL_SYSCFG_EXTI_LINE13);
  LL_SYSCFG_SetEXTISource(LL_SYSCFG_EXTI_PORTD, LL_SYSCFG_EXTI_LINE8);

  LL_EXTI_InitTypeDef extiConfig = {0};
  extiConfig.Line_0_31 = LL_EXTI_LINE_4 | LL_EXTI_LINE_7 | LL_EXTI_LINE_8 | LL_EXTI_LINE_13;
  extiConfig.LineCommand = ENABLE;
  extiConfig.Mode = LL_EXTI_MODE_IT;
  extiConfig.Trigger = LL_EXTI_TRIGGER_FALLING;
  (void)LL_EXTI_Init(&extiConfig);

  NVIC_SetPriority(EXTI4_IRQn, 5);
  NVIC_EnableIRQ(EXTI4_IRQn);

  NVIC_SetPriority(EXTI9_5_IRQn, 5);
  NVIC_EnableIRQ(EXTI9_5_IRQn);
  NVIC_SetPriority(EXTI15_10_IRQn, 5);
  NVIC_EnableIRQ(EXTI15_10_IRQn);
  /* USER CODE END MX_GPIO_Init_2 */
}

/* USER CODE BEGIN 4 */
#if (configGENERATE_RUN_TIME_STATS == 1)
void StartStatsTimer(void) {
    HAL_TIM_Base_Start(&htim3);	// replace htim2 with your selected timer
}

uint32_t GetStatsTimerCount(void) {
    return __HAL_TIM_GET_COUNTER(&htim3);	// replace htim2 with your selected timer
}
#endif
/* USER CODE END 4 */

void StartDefaultTask(void const * argument)
{
  for(;;)
  {
    osDelay(1);
  }
}

void HAL_TIM_PeriodElapsedCallback(TIM_HandleTypeDef *htim)
{
  if (htim->Instance == TIM2)
  {
    HAL_IncTick();
  }
}

void Error_Handler(void)
{
  __disable_irq();
  while (1)
  {
  }
}
